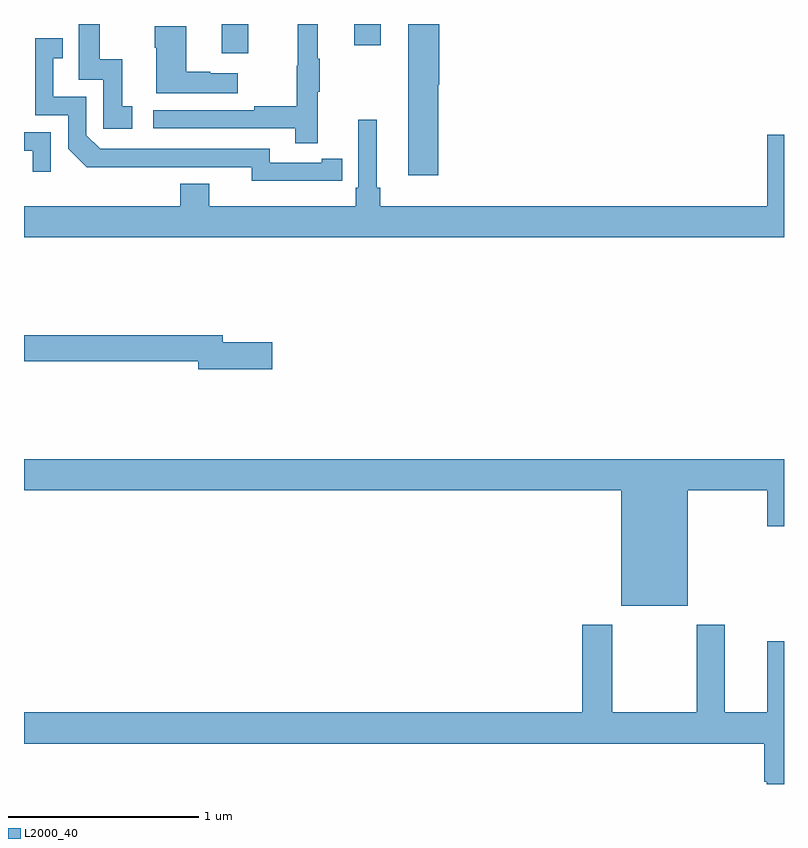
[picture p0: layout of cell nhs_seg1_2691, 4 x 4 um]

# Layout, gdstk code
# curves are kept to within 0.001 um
import gdstk
lib = gdstk.Library(unit=1e-6, precision=1e-09)
def R(c, l, rs):  # rectangles x0, y0, x1, y1
    for r in rs: c.add(gdstk.rectangle(r[:2], r[2:], *l))
def P(c, l, *ps):  # polygons
    for p in ps: c.add(gdstk.Polygon(p, *l))
L2000_40 = (2000, 40)

nhs_seg1_2691 = lib.new_cell('nhs_seg1_2691')
R(nhs_seg1_2691, L2000_40, [(258.041,542.046,258.181,542.199), (258.737,542.088,258.877,542.199)])
P(nhs_seg1_2691, L2000_40, [(258.545,541.843),(258.556,541.843),(258.556,542.017),(258.545,542.017),(258.545,542.199),(258.442,542.199),(258.442,541.98),(258.435,541.98),(258.435,541.766),(258.211,541.766),(258.211,541.746),(257.679,541.746),(257.679,541.65),(258.427,541.65),(258.427,541.572),(258.545,541.572)],
  [(259.181,541.878),(259.186,541.878),(259.186,542.199),(259.022,542.199),(259.022,541.404),(259.181,541.404)],
  [(257.569,541.767),(257.516,541.767),(257.516,542.014),(257.398,542.014),(257.398,542.199),(257.289,542.199),(257.289,541.905),(257.418,541.905),(257.418,541.647),(257.569,541.647)],
  [(258.124,541.939),(257.981,541.939),(257.981,541.949),(257.854,541.949),(257.854,542.188),(257.689,542.188),(257.689,542.075),(257.696,542.075),(257.696,541.835),(258.124,541.835)],
  [(258.566,541.374),(258.674,541.374),(258.674,541.49),(258.566,541.49),(258.566,541.47),(258.294,541.47),(258.294,541.542),(257.4,541.542),(257.328,541.614),(257.328,541.815),(257.155,541.815),(257.155,542.019),(257.204,542.019),(257.204,542.125),(257.058,542.125),(257.058,541.719),(257.232,541.719),(257.232,541.542),(257.33,541.445),(258.198,541.446),(258.198,541.373)],
  [(261,541.615),(260.912,541.615),(260.912,541.24),(258.875,541.24),(258.875,541.336),(258.856,541.336),(258.856,541.696),(258.759,541.696),(258.759,541.336),(258.746,541.336),(258.746,541.24),(257.974,541.24),(257.974,541.357),(257.822,541.357),(257.822,541.24),(257,541.24),(257,541.076),(261,541.076)],
  [(257.142,541.629),(257,541.629),(257,541.533),(257.045,541.533),(257.045,541.422),(257.142,541.422)],
  [(258.307,540.524),(258.046,540.524),(258.046,540.56),(257,540.56),(257,540.424),(257.918,540.424),(257.918,540.382),(258.307,540.382)],
  [(260.494,539.744),(260.912,539.744),(260.912,539.556),(261,539.556),(261,539.908),(257,539.908),(257,539.744),(260.144,539.744),(260.144,539.138),(260.494,539.138)],
  [(260.897,538.21),(260.909,538.21),(260.909,538.199),(261,538.199),(261,538.951),(260.912,538.951),(260.912,538.576),(260.689,538.576),(260.689,539.038),(260.541,539.038),(260.541,538.576),(260.097,538.576),(260.097,539.038),(259.937,539.038),(259.937,538.576),(257,538.576),(257,538.412),(260.897,538.412)])

lib.write_gds('nhs_seg1_2691.gds')
